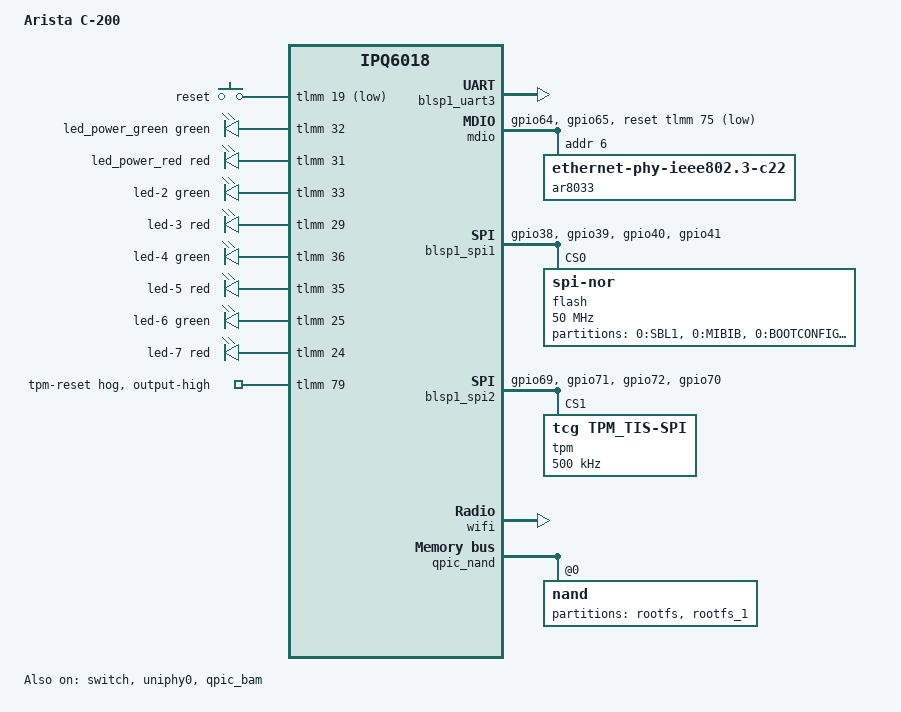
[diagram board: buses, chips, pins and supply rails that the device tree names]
// SPDX-License-Identifier: GPL-2.0-or-later OR MIT

/dts-v1/;

#include "ipq6018.dtsi"
#include "ipq6018-ess.dtsi"
#include <dt-bindings/gpio/gpio.h>
#include <dt-bindings/input/input.h>
#include <dt-bindings/leds/common.h>

/ {
	model = "Arista C-200";
	compatible = "arista,c-200", "qcom,ipq6018";

	aliases {
		serial0 = &blsp1_uart3;
		label-mac-device = &port_lan1;
		led-boot = &led_power_red;
		led-failsafe = &led_power_red;
		led-running = &led_power_green;
		led-upgrade = &led_power_red;
	};

	chosen {
		stdout-path = "serial0:115200n8";
		bootargs-append = " ubi.mtd=rootfs root=/dev/ubiblock0_1";
	};

	keys {
		compatible = "gpio-keys";

		reset-button {
			label = "reset";
			gpios = <&tlmm 19 GPIO_ACTIVE_LOW>;
			linux,code = <KEY_RESTART>;
		};
	};

	leds {
		compatible = "gpio-leds";

		led_power_green: led-0 {
			color = <LED_COLOR_ID_GREEN>;
			function = LED_FUNCTION_POWER;
			gpios = <&tlmm 32 GPIO_ACTIVE_HIGH>;
		};

		led_power_red: led-1 {
			color = <LED_COLOR_ID_RED>;
			function = LED_FUNCTION_POWER;
			gpios = <&tlmm 31 GPIO_ACTIVE_HIGH>;
		};

		led-2 {
			color = <LED_COLOR_ID_GREEN>;
			function = LED_FUNCTION_WLAN_2GHZ;
			gpios = <&tlmm 33 GPIO_ACTIVE_HIGH>;
		};

		led-3 {
			color = <LED_COLOR_ID_RED>;
			function = LED_FUNCTION_WLAN_2GHZ;
			gpios = <&tlmm 29 GPIO_ACTIVE_HIGH>;
		};

		led-4 {
			color = <LED_COLOR_ID_GREEN>;
			function = LED_FUNCTION_WLAN_5GHZ;
			gpios = <&tlmm 36 GPIO_ACTIVE_HIGH>;
		};

		led-5 {
			color = <LED_COLOR_ID_RED>;
			function = LED_FUNCTION_WLAN_5GHZ;
			gpios = <&tlmm 35 GPIO_ACTIVE_HIGH>;
		};

		led-6 {
			color = <LED_COLOR_ID_GREEN>;
			function = LED_FUNCTION_LAN;
			gpios = <&tlmm 25 GPIO_ACTIVE_HIGH>;
		};

		led-7 {
			color = <LED_COLOR_ID_RED>;
			function = LED_FUNCTION_LAN;
			gpios = <&tlmm 24 GPIO_ACTIVE_HIGH>;
		};
	};
};

&blsp1_uart3 {
	pinctrl-0 = <&serial_3_pins>;
	pinctrl-names = "default";
	status = "okay";
};

&rpm {
	status = "disabled";
};

&tlmm {
	/* TZ has exclusive control over GPIO20 */
	gpio-reserved-ranges = <20 1>;

	mdio_pins: mdio-pins {
		mdc {
			pins = "gpio64";
			function = "mdc";
			drive-strength = <8>;
			bias-pull-up;
		};

		mdio {
			pins = "gpio65";
			function = "mdio";
			drive-strength = <8>;
			bias-pull-up;
		};
	};

	/* the TPM's SPI (QUP 2), chip select on GPIO 70 */
	tpm_spi_pins: tpm-spi-state {
		spi {
			pins = "gpio69", "gpio71", "gpio72";
			function = "blsp1_spi";
			drive-strength = <8>;
			bias-pull-down;
		};

		cs {
			pins = "gpio70";
			function = "blsp1_spi";
			drive-strength = <8>;
			bias-disable;
		};
	};

	/* the TPM is held in reset until GPIO 79 is driven high */
	tpm-reset-hog {
		gpio-hog;
		gpios = <79 GPIO_ACTIVE_HIGH>;
		output-high;
		line-name = "tpm-reset";
	};

	spi_0_pins: spi-0-state {
		pins = "gpio38", "gpio39", "gpio40", "gpio41";
		function = "blsp0_spi";
		drive-strength = <8>;
		bias-pull-down;
	};
};

&edma {
	status = "okay";
};

&mdio {
	status = "okay";
	pinctrl-0 = <&mdio_pins>;
	pinctrl-names = "default";
	reset-gpios = <&tlmm 75 GPIO_ACTIVE_LOW>;
	reset-delay-us = <10000>;
	reset-post-delay-us = <50000>;

	ar8033: ethernet-phy@6 {
		compatible = "ethernet-phy-ieee802.3-c22";
		reg = <6>;
	};
};

&switch {
	status = "okay";

	ports {
		#address-cells = <1>;
		#size-cells = <0>;

		port@0 {
			reg = <0>;
			ethernet = <&edma>;
			phy-mode = "internal";

			fixed-link {
				speed = <1000>;
				full-duplex;
			};
		};

		/* the one port, PoE in */
		port_lan1: port@1 {
			reg = <1>;
			label = "lan1";
			phy-handle = <&ar8033>;
			nvmem-cells = <&macaddr_art_18>;
			nvmem-cell-names = "mac-address";
			phy-mode = "sgmii";
			pcs-handle = <&uniphy0 0>;
		};
	};
};

&uniphy0 {
	status = "okay";
};

/* the stock firmware's NOR layout; its kernels are in HL_backup0 and 1 */
&blsp1_spi1 {
	pinctrl-0 = <&spi_0_pins>;
	pinctrl-names = "default";
	status = "okay";

	flash@0 {
		compatible = "jedec,spi-nor";
		reg = <0>;
		spi-max-frequency = <50000000>;

		partitions {
			compatible = "fixed-partitions";
			#address-cells = <1>;
			#size-cells = <1>;

			partition@0 {
				label = "0:SBL1";
				reg = <0x0 0xc0000>;
				read-only;
			};

			partition@c0000 {
				label = "0:MIBIB";
				reg = <0xc0000 0x10000>;
				read-only;
			};

			partition@d0000 {
				label = "0:BOOTCONFIG";
				reg = <0xd0000 0x20000>;
				read-only;
			};

			partition@f0000 {
				label = "0:BOOTCONFIG1";
				reg = <0xf0000 0x20000>;
				read-only;
			};

			partition@110000 {
				label = "0:QSEE";
				reg = <0x110000 0x1a0000>;
				read-only;
			};

			partition@2b0000 {
				label = "0:QSEE_1";
				reg = <0x2b0000 0x1a0000>;
				read-only;
			};

			partition@450000 {
				label = "0:DEVCFG";
				reg = <0x450000 0x10000>;
				read-only;
			};

			partition@460000 {
				label = "0:DEVCFG_1";
				reg = <0x460000 0x10000>;
				read-only;
			};

			partition@470000 {
				label = "0:RPM";
				reg = <0x470000 0x40000>;
				read-only;
			};

			partition@4b0000 {
				label = "0:RPM_1";
				reg = <0x4b0000 0x40000>;
				read-only;
			};

			partition@4f0000 {
				label = "0:CDT";
				reg = <0x4f0000 0x10000>;
				read-only;
			};

			partition@500000 {
				label = "0:CDT_1";
				reg = <0x500000 0x10000>;
				read-only;
			};

			partition@510000 {
				label = "0:APPSBLENV";
				reg = <0x510000 0x10000>;
			};

			partition@520000 {
				label = "0:APPSBL";
				reg = <0x520000 0x100000>;
				read-only;
			};

			partition@620000 {
				label = "0:APPSBL_1";
				reg = <0x620000 0x100000>;
				read-only;
			};

			partition@720000 {
				label = "0:ART";
				reg = <0x720000 0x40000>;
				read-only;

				nvmem-layout {
					compatible = "fixed-layout";
					#address-cells = <1>;
					#size-cells = <1>;

					macaddr_art_18: macaddr@18 {
						reg = <0x18 0x6>;
					};

					caldata_ipq6018: calibration@1000 {
						reg = <0x1000 0x10000>;
					};
				};
			};

			partition@760000 {
				label = "HL_backup0";
				reg = <0x760000 0x800000>;
				read-only;
			};

			partition@f60000 {
				label = "HL_backup1";
				reg = <0xf60000 0x800000>;
				read-only;
			};

			partition@1760000 {
				label = "CONFIG";
				reg = <0x1760000 0x400000>;
				read-only;
			};

			partition@1b60000 {
				label = "LOGGING";
				reg = <0x1b60000 0x100000>;
				read-only;
			};

			partition@1c60000 {
				label = "DEVCERT";
				reg = <0x1c60000 0x20000>;
				read-only;
			};

			partition@1c80000 {
				label = "RESERVED";
				reg = <0x1c80000 0x380000>;
				read-only;
			};
		};
	};
};

&blsp1_spi2 {
	pinctrl-0 = <&tpm_spi_pins>;
	pinctrl-names = "default";
	status = "okay";

	tpm@1 {
		compatible = "tcg,tpm_tis-spi";
		reg = <1>;
		spi-max-frequency = <500000>;
	};
};

&wifi {
	status = "okay";
	qcom,calibration-variant = "Arista-C200";
	nvmem-cells = <&caldata_ipq6018>;
	nvmem-cell-names = "calibration";
};

&qpic_bam {
	status = "okay";
};

&qpic_nand {
	status = "okay";

	/* absorbs the partitions the bootloader adds at boot */
	partitions {
		status = "disabled";
	};

	nand@0 {
		reg = <0>;
		nand-ecc-strength = <4>;
		nand-ecc-step-size = <512>;
		nand-bus-width = <8>;

		partitions {
			compatible = "fixed-partitions";
			#address-cells = <1>;
			#size-cells = <1>;

			/* the stock firmware's first slot */
			partition@0 {
				label = "rootfs";
				reg = <0x0 0x10000000>;
				linux,rootfs;
			};

			/* the stock firmware's second slot, kept as a fallback */
			partition@10000000 {
				label = "rootfs_1";
				reg = <0x10000000 0x10000000>;
				read-only;
			};
		};
	};
};
